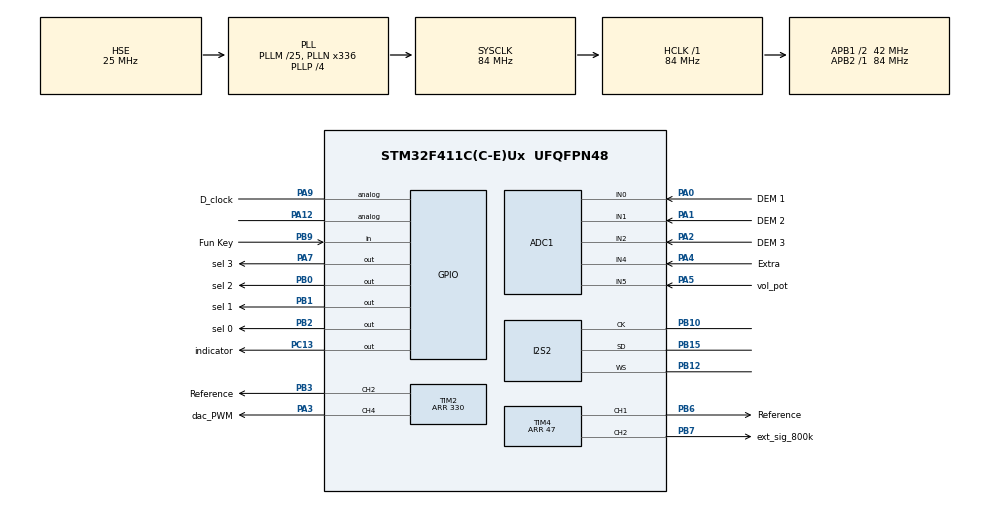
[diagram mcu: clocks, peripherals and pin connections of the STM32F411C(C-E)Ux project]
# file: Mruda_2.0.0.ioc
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ADC1.Channel-0\#ChannelRegularConversion=ADC_CHANNEL_0
ADC1.Channel-1\#ChannelRegularConversion=ADC_CHANNEL_1
ADC1.Channel-2\#ChannelRegularConversion=ADC_CHANNEL_2
ADC1.Channel-3\#ChannelRegularConversion=ADC_CHANNEL_5
ADC1.ContinuousConvMode=ENABLE
ADC1.DMAContinuousRequests=ENABLE
ADC1.InjNumberOfConversion=0
ADC1.NbrOfConversion=4
ADC1.NbrOfConversionFlag=1
ADC1.Rank-0\#ChannelRegularConversion=1
ADC1.Rank-1\#ChannelRegularConversion=2
ADC1.Rank-2\#ChannelRegularConversion=3
ADC1.Rank-3\#ChannelRegularConversion=4
ADC1.SamplingTime-0\#ChannelRegularConversion=ADC_SAMPLETIME_15CYCLES
ADC1.SamplingTime-1\#ChannelRegularConversion=ADC_SAMPLETIME_15CYCLES
ADC1.SamplingTime-2\#ChannelRegularConversion=ADC_SAMPLETIME_15CYCLES
ADC1.SamplingTime-3\#ChannelRegularConversion=ADC_SAMPLETIME_15CYCLES
ADC1.master=1
Dma.ADC1.1.Direction=DMA_PERIPH_TO_MEMORY
Dma.ADC1.1.FIFOMode=DMA_FIFOMODE_DISABLE
Dma.ADC1.1.Instance=DMA2_Stream0
Dma.ADC1.1.MemDataAlignment=DMA_MDATAALIGN_HALFWORD
Dma.ADC1.1.MemInc=DMA_MINC_ENABLE
Dma.ADC1.1.Mode=DMA_CIRCULAR
Dma.ADC1.1.PeriphDataAlignment=DMA_PDATAALIGN_HALFWORD
Dma.ADC1.1.PeriphInc=DMA_PINC_DISABLE
Dma.ADC1.1.Priority=DMA_PRIORITY_LOW
Dma.Request0=SPI2_TX
Dma.Request1=ADC1
Dma.SPI2_TX.0.Direction=DMA_MEMORY_TO_PERIPH
Dma.SPI2_TX.0.FIFOMode=DMA_FIFOMODE_DISABLE
Dma.SPI2_TX.0.Instance=DMA1_Stream4
Dma.SPI2_TX.0.MemDataAlignment=DMA_MDATAALIGN_HALFWORD
Dma.SPI2_TX.0.MemInc=DMA_MINC_ENABLE
Dma.SPI2_TX.0.Mode=DMA_CIRCULAR
Dma.SPI2_TX.0.PeriphDataAlignment=DMA_PDATAALIGN_HALFWORD
Dma.SPI2_TX.0.PeriphInc=DMA_PINC_DISABLE
Dma.SPI2_TX.0.Priority=DMA_PRIORITY_VERY_HIGH
I2S2.AudioFreq=I2S_AUDIOFREQ_32K
I2S2.DataFormat=I2S_DATAFORMAT_16B
I2S2.ErrorAudioFreq=-0.03 %
I2S2.FullDuplexMode=I2S_FULLDUPLEXMODE_DISABLE
I2S2.Instance=SPI$Index
I2S2.RealAudioFreq=31.99 KHz
I2S2.Standard=I2S_STANDARD_PHILIPS
I2S2.VirtualMode=I2S_MODE_MASTER
Mcu.Family=STM32F4
Mcu.Name=STM32F411C(C-E)Ux
Mcu.Package=UFQFPN48
NVIC.DMA1_Stream4_IRQn=true\:0\:0\:false\:false\:true\:false\:true\:true
NVIC.DMA2_Stream0_IRQn=true\:0\:0\:false\:false\:true\:false\:true\:true
NVIC.PriorityGroup=NVIC_PRIORITYGROUP_4
PA0-WKUP.GPIO_Label=DEM 1
PA0-WKUP.Signal=ADCx_IN0
PA1.GPIO_Label=DEM 2
PA1.Signal=ADCx_IN1
PA12.Signal=GPIO_Analog
PA2.GPIO_Label=DEM 3
PA2.Signal=ADCx_IN2
PA3.GPIO_Label=dac_PWM
PA3.Signal=S_TIM2_CH4
PA4.GPIO_Label=Extra
PA4.Signal=ADCx_IN4
PA5.GPIO_Label=vol_pot
PA5.Signal=ADCx_IN5
PA7.GPIO_Label=sel 3
PA7.Signal=GPIO_Output
PA9.GPIO_Label=D_clock
PA9.Signal=GPIO_Analog
PB0.GPIO_Label=sel 2
PB0.Signal=GPIO_Output
PB1.GPIO_Label=sel 1
PB1.Signal=GPIO_Output
PB10.Mode=Half_Duplex_Master
PB10.Signal=I2S2_CK
PB12.Mode=Half_Duplex_Master
PB12.Signal=I2S2_WS
PB15.Mode=Half_Duplex_Master
PB15.Signal=I2S2_SD
PB2.GPIO_Label=sel 0
PB2.Signal=GPIO_Output
PB3.GPIO_Label=Reference
PB3.Signal=S_TIM2_CH2
PB6.GPIO_Label=Reference
PB6.Signal=S_TIM4_CH1
PB7.GPIO_Label=ext_sig_800k
PB7.Signal=S_TIM4_CH2
PB9.GPIO_Label=Fun Key
PB9.GPIO_PuPd=GPIO_PULLUP
PB9.Signal=GPIO_Input
PC13-ANTI_TAMP.GPIO_Label=indicator
PC13-ANTI_TAMP.Signal=GPIO_Output
PH0\ -\ OSC_IN.Mode=HSE-External-Oscillator
PH0\ -\ OSC_IN.Signal=RCC_OSC_IN
PH1\ -\ OSC_OUT.Mode=HSE-External-Oscillator
PH1\ -\ OSC_OUT.Signal=RCC_OSC_OUT
ProjectManager.HeapSize=0x200
ProjectManager.StackSize=0x400
ProjectManager.TargetToolchain=STM32CubeIDE
RCC.48MHZClocksFreq_Value=48000000
RCC.AHBFreq_Value=84000000
RCC.APB1CLKDivider=RCC_HCLK_DIV2
RCC.APB1Freq_Value=42000000
RCC.APB1TimFreq_Value=84000000
RCC.APB2Freq_Value=84000000
RCC.APB2TimFreq_Value=84000000
RCC.CortexFreq_Value=84000000
RCC.HCLKFreq_Value=84000000
RCC.HSE_VALUE=25000000
RCC.HSI_VALUE=16000000
RCC.LSE_VALUE=32768
RCC.PLLI2SM=20
RCC.PLLI2SN=190
RCC.PLLM=25
RCC.PLLN=336
RCC.PLLP=RCC_PLLP_DIV4
RCC.PLLQ=7
RCC.PLLSourceVirtual=RCC_PLLSOURCE_HSE
RCC.SYSCLKFreq_VALUE=84000000
RCC.SYSCLKSource=RCC_SYSCLKSOURCE_PLLCLK
RCC.VCOOutputFreq_Value=336000000
SH.ADCx_IN0.0=ADC1_IN0,IN0
SH.ADCx_IN1.0=ADC1_IN1,IN1
SH.ADCx_IN2.0=ADC1_IN2,IN2
SH.ADCx_IN4.0=ADC1_IN4,IN4
SH.ADCx_IN5.0=ADC1_IN5,IN5
SH.S_TIM2_CH2.0=TIM2_CH2,PWM Generation2 CH2
SH.S_TIM2_CH4.0=TIM2_CH4,PWM Generation4 CH4
SH.S_TIM4_CH1.0=TIM4_CH1,Output Compare1 CH1
SH.S_TIM4_CH2.0=TIM4_CH2,Output Compare2 CH2
TIM2.Channel-PWM\ Generation2\ CH2=TIM_CHANNEL_2
TIM2.Channel-PWM\ Generation4\ CH4=TIM_CHANNEL_4
TIM2.Period=330
TIM2.Pulse-PWM\ Generation4\ CH4=165
TIM3.AutoReloadPreload=TIM_AUTORELOAD_PRELOAD_ENABLE
TIM3.Prescaler=83
TIM4.AutoReloadPreload=TIM_AUTORELOAD_PRELOAD_ENABLE
TIM4.Channel-Output\ Compare1\ CH1=TIM_CHANNEL_1
TIM4.Channel-Output\ Compare2\ CH2=TIM_CHANNEL_2
TIM4.OCMode_1=TIM_OCMODE_TOGGLE
TIM4.OCMode_2=TIM_OCMODE_TOGGLE
TIM4.OCPolarity_1=TIM_OCPOLARITY_LOW
TIM4.Period=47
TIM4.Pulse-Output\ Compare2\ CH2=27
VP_TIM2_VS_ClockSourceINT.Mode=Internal
VP_TIM3_VS_ClockSourceINT.Mode=Internal
board=custom

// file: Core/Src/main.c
/* USER CODE BEGIN Header */
/**
  ******************************************************************************
  * @file           : main.c
  * @brief          : Main program body
  ******************************************************************************
  * @attention
  *
  * Copyright (c) 2026 STMicroelectronics.
  * All rights reserved.
  *
  * This software is licensed under terms that can be found in the LICENSE file
  * in the root directory of this software component.
  * If no LICENSE file comes with this software, it is provided AS-IS.
  *
  ******************************************************************************
  */
/* USER CODE END Header */
#include "main.h"

/* USER CODE BEGIN Includes */

#include "math.h"
#include "tm1637.h"
#include <stdio.h>

/* USER CODE END Includes */

ADC_HandleTypeDef hadc1;
DMA_HandleTypeDef hdma_adc1;

I2S_HandleTypeDef hi2s2;
DMA_HandleTypeDef hdma_spi2_tx;

TIM_HandleTypeDef htim2;
TIM_HandleTypeDef htim3;
TIM_HandleTypeDef htim4;

/* USER CODE BEGIN PV */

#define SAMPLE_RATE 32000  // Sample rate (Hz)
#define TWOPI       360.0f
#define BUFFER_SIZE 512

#define S0_pin GPIO_PIN_2
#define S0_port GPIOB

#define S1_pin GPIO_PIN_1
#define S1_port GPIOB

#define S2_pin GPIO_PIN_0
#define S2_port GPIOB

#define S3_pin GPIO_PIN_7
#define S3_port GPIOA

#define poly_phony 3

#define phase_v (TWOPI/SAMPLE_RATE)
#define SINE_TABLE_LEN 1800 // +1 required

#define ADC_DMA_LEN 16  // must be factor of 4

#define POS_THRESH   1.90f
#define AMP_ON       410.0f
#define AMP_OFF      300.0f
#define SMOOTH_ALPHA 0.9f   // 0 = no update, 1 = no smoothing

int16_t buffer0[BUFFER_SIZE];
int8_t data_ready_flag=0;
float vol_smooth[5], p[5], PHASE_INC[5];

int16_t adc_dma_buffer[ADC_DMA_LEN], adc_val[ADC_DMA_LEN];

int16_t Sine_table_main[SINE_TABLE_LEN+1];
int16_t Sine_table_tanpura[SINE_TABLE_LEN+1];

float touch[48];
float touch_cal[48];
float touch_p[48], touch_p1[48], touch_p2[48]; // current , previous, 2nd previous
float vol_knob;
uint8_t mux_dir, mux_sel;
long t1,t2,dt;

uint32_t last_count=0;
uint32_t now=0;

uint16_t drone_t=0;
float drone_sa=0;
float drone_pa=0;
float drone_vol=0.04;
int8_t drone_vol_level=5;
float drone_vol_raw=0.0;
float drone_sa_key=27;
float drone_pa_key=22;

float drone_sa_freq=0;
float drone_pa_freq=0;

uint8_t peak[3];
float peak_amp[3];
float peak_pos[3];
float peak_pos_old[3];
float peak_pos_track[3];
float peak_amp_track[3];
float touch_position[poly_phony],touch_position_old[poly_phony];
float touch_amp[poly_phony],touch_amp_old[poly_phony];
int8_t touch_flag[poly_phony], touch_flag_old[poly_phony], release_flag[poly_phony];
float p_expo= 1.35;

float vol[5], vol_old[5], vol_smooth[5], vol_smooth_old[5];

float key[poly_phony], key_refined[poly_phony],key_snap[poly_phony],key_snap_pos[poly_phony];
float key_freq[poly_phony], key_diff[poly_phony], key_play[poly_phony],key_play_old[poly_phony], key_play_freq[poly_phony];
float key_trans[poly_phony];
float key_out[poly_phony];
float transpose=0;
float f_tune=0;
float octave=0;

float snap_flag_val[5]={0,0.002,0.005,0.01,0.02};
float snap_flag_multiplier;
float smoothed_play[3] = {0};
float key_error[3];
uint8_t snap_flag=0;
/* USER CODE END PV */

void SystemClock_Config(void);
static void MX_GPIO_Init(void);
static void MX_DMA_Init(void);
static void MX_ADC1_Init(void);
static void MX_I2S2_Init(void);
static void MX_TIM2_Init(void);
static void MX_TIM3_Init(void);
static void MX_TIM4_Init(void);
/* USER CODE BEGIN PFP */

void set_mux(uint8_t ch) {
    if (ch > 15) return;

    HAL_GPIO_WritePin(S0_port, S0_pin, (ch >> 0) & 0x01);
    HAL_GPIO_WritePin(S1_port, S1_pin, (ch >> 1) & 0x01);
    HAL_GPIO_WritePin(S2_port, S2_pin, (ch >> 2) & 0x01);
    HAL_GPIO_WritePin(S3_port, S3_pin, (ch >> 3) & 0x01);
}

float sine(float angle)
{
    // assuming sine_data[] has 720 points for 0–360° (0.5° step)
    // i.e., one table entry per 0.5°
    angle *= 5.0f;  // convert degrees → 0.5° index scale

    int angle_int = (int)angle;
    float frac = angle - angle_int;          // fractional part
    int next_index = angle_int + 1;

    if (next_index >= SINE_TABLE_LEN)
        next_index = 0;

    // linear interpolation
    float y0 = Sine_table_main[angle_int];
    float y1 = Sine_table_main[next_index];
    return y0 + frac * (y1 - y0);
}

float sine_t(float angle)
{
    // assuming sine_data[] has 720 points for 0–360° (0.5° step)
    // i.e., one table entry per 0.5°
    angle *= 5.0f;  // convert degrees → 0.5° index scale

    int angle_int = (int)angle;
    float frac = angle - angle_int;          // fractional part
    int next_index = angle_int + 1;

    if (next_index >= SINE_TABLE_LEN)
        next_index = 0;

    // linear interpolation
    float y0 = Sine_table_tanpura[angle_int];
    float y1 = Sine_table_tanpura[next_index];
    return y0 + frac * (y1 - y0);
}

void Create_sine_table(int16_t *sine_table){
	float step= 6.28318530718/SINE_TABLE_LEN;
	float current_value;
	for(int i=0; i< SINE_TABLE_LEN; i++){
		current_value = 32000.0f*sin(i*step);
		sine_table[i]=(int) current_value;
	}
	sine_table[SINE_TABLE_LEN+1]=sine_table[0];
}

void fill_buffer0(int16_t *buff, uint16_t size){

    for (int i=0; i < size; i+=2) {

    	for(uint8_t i=0;i<3;i++){
    		vol[i]=0.1f*vol[i]+0.9f*vol_old[i];
    		vol_old[i]=vol[i];

    		vol_smooth[i]=0.1f*vol[i]+0.9f*vol_smooth_old[i];
    		vol_smooth_old[i]=vol_smooth[i];
    	}

    	vol[3]=0.004f*vol[3]+0.996f*vol_old[3];
    	vol_old[3]=vol[3];
		vol_smooth[3]=0.15f*vol[3]+0.85f*vol_smooth_old[3];
		vol_smooth_old[3]=vol_smooth[3];

    	vol[4]=0.004f*vol[4]+0.996f*vol_old[4];
    	vol_old[4]=vol[4];
		vol_smooth[4]=0.15f*vol[4]+0.85f*vol_smooth_old[4];
		vol_smooth_old[4]=vol_smooth[4];

	   float t_samp_rev=   vol_smooth[0]*sine(p[0])+
			   	   	   	   vol_smooth[1]*sine(p[1])+
						   vol_smooth[2]*sine(p[2]);

	   float t_samp=	t_samp_rev+
						   vol_smooth[3]*sine_t(p[3])+
						   vol_smooth[4]*sine_t(p[4]);

        // Increment and wrap phase
        p[0] += PHASE_INC[0];
			if (p[0] >= TWOPI)
				p[0] -= TWOPI;

        p[1] += PHASE_INC[1];
            if (p[1] >= TWOPI)
            	p[1] -= TWOPI;

        p[2] += PHASE_INC[2];
            if (p[2] >= TWOPI)
            	p[2] -= TWOPI;

        p[3] += PHASE_INC[3];
            if (p[3] >= TWOPI)
                p[3] -= TWOPI;

        p[4] += PHASE_INC[4];
            if (p[4] >= TWOPI)
                p[4] -= TWOPI;

            buff[i] = (int16_t)t_samp;
            buff[i+1] = buff[i];

    }
}

void HAL_I2S_TxHalfCpltCallback(I2S_HandleTypeDef *hi2s) {

    fill_buffer0(buffer0, BUFFER_SIZE / 2);  // Fill first half
}

void HAL_I2S_TxCpltCallback(I2S_HandleTypeDef *hi2s) {
    fill_buffer0(buffer0 + BUFFER_SIZE/2, BUFFER_SIZE / 2);  // Fill second half
}

void HAL_ADC_ConvCpltCallback(ADC_HandleTypeDef* hadc){

	for(int i=0;i<ADC_DMA_LEN;i++){
	adc_val[i]=(float)adc_dma_buffer[i];
	}
}

float parabolic_fit(uint8_t index)
{
    // Boundary handling: linear interpolation
    if (index == 0)
    {
        float y0 = touch_p[0];
        float y1 = touch_p[1];

        // Weighted linear centroid between 0 and 1
        if ((y0 + y1) > 0.0f)
            return (0.0f * y0 + 1.0f * y1) / (y0 + y1);
        else
            return 0.0f;
    }
    else if (index == 47)
    {
        float y0 = touch_p[46];
        float y1 = touch_p[47];

        if ((y0 + y1) > 0.0f)
            return (46.0f * y0 + 47.0f * y1) / (y0 + y1);
        else
            return 47.0f;
    }

    // Interior points: parabolic interpolation
    float y0 = touch_p[index - 1];
    float y1 = touch_p[index];
    float y2 = touch_p[index + 1];

    touch_amp[0] = y0 + y1 + y2;

    float denominator = 2.0f * (y0 - 2.0f * y1 + y2);

    // Safety check (flat or noisy peak)
    if (denominator == 0.0f)
        return (float)index;

    float delta = (y0 - y2) / denominator;
    return delta + (float)index;
}

void touch_estimate(){

	//identify the peaks over the array
	uint8_t temp_indice=0;
	float threshold = 900;
	for(uint8_t i=0;i<48;i++){
		if(
				( touch_p[i-1] <touch_p[i]  && touch_p[i+1] <touch_p[i]  && (touch_p[i] +touch_p[i+1] +touch_p[i-1]) >threshold )
			// && ( touch_p1[i-1]<touch_p1[i] && touch_p1[i+1]<touch_p1[i] && (touch_p1[i]+touch_p1[i+1]+touch_p1[i-1])>threshold )
			)
		{

			peak[temp_indice]=i;
			peak_amp[temp_indice]=touch_p[i]+touch_p[i-1]+touch_p[i+1];
			peak_pos[temp_indice]=parabolic_fit(i);
			temp_indice++;
			if(temp_indice==3){break;}
		}
	}

	// fill zeros if its there are les than 3 peaks
	for (uint8_t k = temp_indice; k < 3; k++) {
	    peak_pos[k] = 0;
	    peak_amp[k] = 0;
	}

	uint8_t used_new[3] = {0};
	uint8_t used_old[3] = {0};
	for (uint8_t i = 0; i < 3; i++) {
	    for (uint8_t j = 0; j < 3; j++) {
	        float diff = fabsf(peak_pos_old[i] - peak_pos[j]);
	        if (diff < 1.25f && !used_old[i] && !used_new[j]) {
	            peak_pos_track[i] = peak_pos[j];
	            peak_amp_track[i] = peak_amp[j];
	            used_old[i] = 1;
	            used_new[j] = 1;
	            break;
	        }
	    }
	}

	// Second pass: Fill in unmatched old indices with any unused new values
	for (uint8_t i = 0; i < 3; i++) {
	    if (!used_old[i]) {
	        for (uint8_t j = 0; j < 3; j++) {
	            if (!used_new[j]) {
	                peak_pos_track[i] = peak_pos[j];
	                peak_amp_track[i] = peak_amp[j];
	                used_old[i] = 1;
	                used_new[j] = 1;
	                break;
	            }
	        }
	    }
	}

	// Update peak_pos and peak_pos_old for next frame
	for (uint8_t i = 0; i < 3; i++) {
	    peak_pos[i] = peak_pos_track[i];
	    peak_amp[i] = peak_amp_track[i];
	    peak_pos_old[i] = peak_pos[i];

	    touch_flag_old[i]=touch_flag[i];
	    if(peak_pos[i]!=0){touch_flag[i]=1;}
	    else {touch_flag[i]=0;}
	}

	for(int i=0;i<3;i++){

		peak_pos[i]=0.5*peak_pos[i];

		//touch amplitude
		    touch_amp[i]=touch_amp[i]*vol_knob*0.00008;
		    if(touch_amp[i]<0){touch_amp[i]=0;}
		    touch_amp[i]=powf(touch_amp[i],p_expo);

		    //filter
		    touch_amp[i]=0.75*touch_amp[i]+0.25*touch_amp_old[i];
		    vol[i]=touch_amp[i];

		    touch_amp_old[i]=touch_amp[i];

	}

	//HAL_GPIO_WritePin(GPIOC, GPIO_PIN_13, !(touch_flag[0] || touch_flag[1] || touch_flag[2]));

}

void set_freq(){

	for(uint8_t i=0;i<3;i++){
		if(touch_flag[i]==1 && snap_flag>0){
			key[i]=peak_pos[i]+21-0.5; //sensing plate not on senter so 0.5
			key_trans[i]=key[i]+f_tune+transpose+octave;

			if(touch_flag_old[i]==0){
				key_snap[i]=round(key[i]); // only for functions
				smoothed_play[i]=0;
				key_error[i]=0;
			}

			//auto correct
			//if(smoothed_play[i]>0.5){smoothed_play[i]=0.5;}
			key_play[i]=key_trans[i]+smoothed_play[i];
			key_error[i]=key_play[i]-round(key_trans[i]);
			smoothed_play[i]-=snap_flag_multiplier*key_error[i];
			//if(key_error[i]<0.01){key_error[i]=0;}

			key_play[i]=0.9*key_play[i]+0.1*key_play_old[i];
			key_play_old[i]=key_play[i];

			key_play[i] = 440.0f * powf(1.0594630f, (key_play[i] - 48));
			PHASE_INC[i] =phase_v * key_play[i];
		}

		if(touch_flag[i]==1 && snap_flag==0){
					key_snap[i]=round(key[i]); // for function detect
					key[i]=peak_pos[i]+21-0.5; //sensing plate not on senter so 0.5

					key_play[i]=key[i]+f_tune+transpose+octave;
					//key_play[i]=key_play[i]*(1+0.001*rand_float());

					key_out[i]=key_play[i];
					key_play[i]=0.9*key_play[i]+0.1*key_play_old[i];

					key_play_old[i]=key_play[i];

					key_play[i] = 440.0f * powf(1.0594630f, (key_play[i] - 48));
					PHASE_INC[i] =phase_v * key_play[i];
				}
	}
}

/* USER CODE END PFP */

int main(void)
{

  /* USER CODE BEGIN 1 */

	Create_sine_table(Sine_table_main);
	Create_sine_table(Sine_table_tanpura);

  /* USER CODE END 1 */

  /* MCU Configuration--------------------------------------------------------*/

  /* Reset of all peripherals, Initializes the Flash interface and the Systick. */
  HAL_Init();

  /* Configure the system clock */
  SystemClock_Config();

  /* Initialize all configured peripherals */
  MX_GPIO_Init();
  MX_DMA_Init();
  MX_ADC1_Init();
  MX_I2S2_Init();
  MX_TIM2_Init();
  MX_TIM3_Init();
  MX_TIM4_Init();
  /* USER CODE BEGIN 2 */

  TM1637_Init();
  TM1637_DisplayString("CAL-");
  HAL_Delay(50);
  HAL_TIM_PWM_Start(&htim4, TIM_CHANNEL_2);
  HAL_TIM_PWM_Start(&htim4, TIM_CHANNEL_1);
  __HAL_TIM_SET_COMPARE(&htim4, TIM_CHANNEL_1, 0);

  HAL_TIM_Base_Start(&htim3);
  HAL_TIM_PWM_Start(&htim2, TIM_CHANNEL_4);

  __HAL_TIM_SET_COMPARE(&htim2, TIM_CHANNEL_4, 195);
  __HAL_TIM_SET_COMPARE(&htim4, TIM_CHANNEL_2, 27);
//PHASE_INC[0]=2.5;
vol_smooth[0]=0;

HAL_ADC_Start_DMA(&hadc1, (uint32_t*)adc_dma_buffer, 16);

HAL_Delay(50);
for(int j=0;j<10;j++)
{
	 for(int i = 0; i < 16; i++){
		 set_mux(i);HAL_Delay(2);
		 touch_cal[i]	 =touch_cal[i]+ adc_val[2];
		 touch_cal[i+16] =touch_cal[i+16]+ adc_val[1];
		 touch_cal[i+32] =touch_cal[i+32]+ adc_val[0];
	 }
}

for(int i = 0; i < 48; i++){
	 touch_cal[i]= round(touch_cal[i]/10);
}
TM1637_SetColon(0);
TM1637_DisplayString("PLAY");
drone_pa_freq=440.0f * powf(1.0594630f, (drone_sa_key - 48));
drone_sa_freq=440.0f * powf(1.0594630f, (drone_pa_key - 48));

PHASE_INC[3] =phase_v * drone_sa_freq;
PHASE_INC[4] =phase_v * drone_pa_freq;

HAL_Delay(20);
HAL_I2S_Transmit_DMA(&hi2s2, (uint16_t*)buffer0, BUFFER_SIZE);
HAL_Delay(20);

  /* USER CODE END 2 */

  /* Infinite loop */
  /* USER CODE BEGIN WHILE */
  last_count = __HAL_TIM_GET_COUNTER(&htim3);
  while (1)
  {
    /* USER CODE END WHILE */

    /* USER CODE BEGIN 3 */

	    now = __HAL_TIM_GET_COUNTER(&htim3);

	    if ((now - last_count) >= 250)
	    {

	        last_count = now;

					touch_p2 [mux_sel] = touch_p1[mux_sel];
					touch_p2 [mux_sel+16] = touch_p1[mux_sel+16];
					touch_p2 [mux_sel+32] = touch_p1[mux_sel+32];

	        		touch_p1 [mux_sel] = touch_p[mux_sel];
	        		touch_p1 [mux_sel+16] = touch_p[mux_sel+16];
	        		touch_p1 [mux_sel+32] = touch_p[mux_sel+32];

	        		//meaure
					touch[mux_sel] =  0.25f*(adc_val[2]+adc_val[6]+adc_val[10]+adc_val[14]);
					touch[mux_sel+16]=0.25f*(adc_val[1]+adc_val[5]+adc_val[9]+adc_val[13]);
					touch[mux_sel+32]=0.25f*(adc_val[0]+adc_val[4]+adc_val[8]+adc_val[12]);

					touch_p[mux_sel]   = touch[mux_sel] -touch_cal[mux_sel];
					touch_p[mux_sel+16]= touch[mux_sel+16] -touch_cal[mux_sel+16];
					touch_p[mux_sel+32]= touch[mux_sel+32] -touch_cal[mux_sel+32];

	        	  if(mux_sel==15){
	        	        mux_dir = -1;
	        	  }
	        	  else if (mux_sel == 0)
	        	    {
	        	        mux_dir = +1;   // forward again
	        	    }

	        	  mux_sel += mux_dir;
	        	  set_mux(mux_sel);

	        	  if(mux_sel==15 || mux_sel==0){
	        		  touch_estimate();
	        		  vol_knob=(float)adc_val[3];
	        		  vol_knob=vol_knob/4095;
	        		  set_freq();
	        		  HAL_GPIO_TogglePin(GPIOC, GPIO_PIN_13);
	        	  }
	    }

  }
  /* USER CODE END 3 */
}

void SystemClock_Config(void)
{
  RCC_OscInitTypeDef RCC_OscInitStruct = {0};
  RCC_ClkInitTypeDef RCC_ClkInitStruct = {0};

  /** Configure the main internal regulator output voltage
  */
  __HAL_RCC_PWR_CLK_ENABLE();
  __HAL_PWR_VOLTAGESCALING_CONFIG(PWR_REGULATOR_VOLTAGE_SCALE1);

  /** Initializes the RCC Oscillators according to the specified parameters
  * in the RCC_OscInitTypeDef structure.
  */
  RCC_OscInitStruct.OscillatorType = RCC_OSCILLATORTYPE_HSE;
  RCC_OscInitStruct.HSEState = RCC_HSE_ON;
  RCC_OscInitStruct.PLL.PLLState = RCC_PLL_ON;
  RCC_OscInitStruct.PLL.PLLSource = RCC_PLLSOURCE_HSE;
  RCC_OscInitStruct.PLL.PLLM = 25;
  RCC_OscInitStruct.PLL.PLLN = 336;
  RCC_OscInitStruct.PLL.PLLP = RCC_PLLP_DIV4;
  RCC_OscInitStruct.PLL.PLLQ = 7;
  if (HAL_RCC_OscConfig(&RCC_OscInitStruct) != HAL_OK)
  {
    Error_Handler();
  }

  /** Initializes the CPU, AHB and APB buses clocks
  */
  RCC_ClkInitStruct.ClockType = RCC_CLOCKTYPE_HCLK|RCC_CLOCKTYPE_SYSCLK
                              |RCC_CLOCKTYPE_PCLK1|RCC_CLOCKTYPE_PCLK2;
  RCC_ClkInitStruct.SYSCLKSource = RCC_SYSCLKSOURCE_PLLCLK;
  RCC_ClkInitStruct.AHBCLKDivider = RCC_SYSCLK_DIV1;
  RCC_ClkInitStruct.APB1CLKDivider = RCC_HCLK_DIV2;
  RCC_ClkInitStruct.APB2CLKDivider = RCC_HCLK_DIV1;

  if (HAL_RCC_ClockConfig(&RCC_ClkInitStruct, FLASH_LATENCY_2) != HAL_OK)
  {
    Error_Handler();
  }
}

static void MX_ADC1_Init(void)
{

  ADC_ChannelConfTypeDef sConfig = {0};

  /** Configure the global features of the ADC (Clock, Resolution, Data Alignment and number of conversion)
  */
  hadc1.Instance = ADC1;
  hadc1.Init.ClockPrescaler = ADC_CLOCK_SYNC_PCLK_DIV4;
  hadc1.Init.Resolution = ADC_RESOLUTION_12B;
  hadc1.Init.ScanConvMode = ENABLE;
  hadc1.Init.ContinuousConvMode = ENABLE;
  hadc1.Init.DiscontinuousConvMode = DISABLE;
  hadc1.Init.ExternalTrigConvEdge = ADC_EXTERNALTRIGCONVEDGE_NONE;
  hadc1.Init.ExternalTrigConv = ADC_SOFTWARE_START;
  hadc1.Init.DataAlign = ADC_DATAALIGN_RIGHT;
  hadc1.Init.NbrOfConversion = 4;
  hadc1.Init.DMAContinuousRequests = ENABLE;
  hadc1.Init.EOCSelection = ADC_EOC_SINGLE_CONV;
  if (HAL_ADC_Init(&hadc1) != HAL_OK)
  {
    Error_Handler();
  }

  /** Configure for the selected ADC regular channel its corresponding rank in the sequencer and its sample time.
  */
  sConfig.Channel = ADC_CHANNEL_0;
  sConfig.Rank = 1;
  sConfig.SamplingTime = ADC_SAMPLETIME_15CYCLES;
  if (HAL_ADC_ConfigChannel(&hadc1, &sConfig) != HAL_OK)
  {
    Error_Handler();
  }

  /** Configure for the selected ADC regular channel its corresponding rank in the sequencer and its sample time.
  */
  sConfig.Channel = ADC_CHANNEL_1;
  sConfig.Rank = 2;
  if (HAL_ADC_ConfigChannel(&hadc1, &sConfig) != HAL_OK)
  {
    Error_Handler();
  }

  /** Configure for the selected ADC regular channel its corresponding rank in the sequencer and its sample time.
  */
  sConfig.Channel = ADC_CHANNEL_2;
  sConfig.Rank = 3;
  if (HAL_ADC_ConfigChannel(&hadc1, &sConfig) != HAL_OK)
  {
    Error_Handler();
  }

  /** Configure for the selected ADC regular channel its corresponding rank in the sequencer and its sample time.
  */
  sConfig.Channel = ADC_CHANNEL_5;
  sConfig.Rank = 4;
  if (HAL_ADC_ConfigChannel(&hadc1, &sConfig) != HAL_OK)
  {
    Error_Handler();
  }

}

static void MX_I2S2_Init(void)
{

  hi2s2.Instance = SPI2;
  hi2s2.Init.Mode = I2S_MODE_MASTER_TX;
  hi2s2.Init.Standard = I2S_STANDARD_PHILIPS;
  hi2s2.Init.DataFormat = I2S_DATAFORMAT_16B;
  hi2s2.Init.MCLKOutput = I2S_MCLKOUTPUT_DISABLE;
  hi2s2.Init.AudioFreq = I2S_AUDIOFREQ_32K;
  hi2s2.Init.CPOL = I2S_CPOL_LOW;
  hi2s2.Init.ClockSource = I2S_CLOCK_PLL;
  hi2s2.Init.FullDuplexMode = I2S_FULLDUPLEXMODE_DISABLE;
  if (HAL_I2S_Init(&hi2s2) != HAL_OK)
  {
    Error_Handler();
  }

}

static void MX_TIM2_Init(void)
{

  TIM_ClockConfigTypeDef sClockSourceConfig = {0};
  TIM_MasterConfigTypeDef sMasterConfig = {0};
  TIM_OC_InitTypeDef sConfigOC = {0};

  htim2.Instance = TIM2;
  htim2.Init.Prescaler = 0;
  htim2.Init.CounterMode = TIM_COUNTERMODE_UP;
  htim2.Init.Period = 330;
  htim2.Init.ClockDivision = TIM_CLOCKDIVISION_DIV1;
  htim2.Init.AutoReloadPreload = TIM_AUTORELOAD_PRELOAD_DISABLE;
  if (HAL_TIM_Base_Init(&htim2) != HAL_OK)
  {
    Error_Handler();
  }
  sClockSourceConfig.ClockSource = TIM_CLOCKSOURCE_INTERNAL;
  if (HAL_TIM_ConfigClockSource(&htim2, &sClockSourceConfig) != HAL_OK)
  {
    Error_Handler();
  }
  if (HAL_TIM_PWM_Init(&htim2) != HAL_OK)
  {
    Error_Handler();
  }
  sMasterConfig.MasterOutputTrigger = TIM_TRGO_RESET;
  sMasterConfig.MasterSlaveMode = TIM_MASTERSLAVEMODE_DISABLE;
  if (HAL_TIMEx_MasterConfigSynchronization(&htim2, &sMasterConfig) != HAL_OK)
  {
    Error_Handler();
  }
  sConfigOC.OCMode = TIM_OCMODE_PWM1;
  sConfigOC.Pulse = 0;
  sConfigOC.OCPolarity = TIM_OCPOLARITY_HIGH;
  sConfigOC.OCFastMode = TIM_OCFAST_DISABLE;
  if (HAL_TIM_PWM_ConfigChannel(&htim2, &sConfigOC, TIM_CHANNEL_2) != HAL_OK)
  {
    Error_Handler();
  }
  sConfigOC.Pulse = 165;
  if (HAL_TIM_PWM_ConfigChannel(&htim2, &sConfigOC, TIM_CHANNEL_4) != HAL_OK)
  {
    Error_Handler();
  }
  HAL_TIM_MspPostInit(&htim2);

}

static void MX_TIM3_Init(void)
{

  TIM_ClockConfigTypeDef sClockSourceConfig = {0};
  TIM_MasterConfigTypeDef sMasterConfig = {0};

  htim3.Instance = TIM3;
  htim3.Init.Prescaler = 83;
  htim3.Init.CounterMode = TIM_COUNTERMODE_UP;
  htim3.Init.Period = 65535;
  htim3.Init.ClockDivision = TIM_CLOCKDIVISION_DIV1;
  htim3.Init.AutoReloadPreload = TIM_AUTORELOAD_PRELOAD_ENABLE;
  if (HAL_TIM_Base_Init(&htim3) != HAL_OK)
  {
    Error_Handler();
  }
  sClockSourceConfig.ClockSource = TIM_CLOCKSOURCE_INTERNAL;
  if (HAL_TIM_ConfigClockSource(&htim3, &sClockSourceConfig) != HAL_OK)
  {
    Error_Handler();
  }
  sMasterConfig.MasterOutputTrigger = TIM_TRGO_RESET;
  sMasterConfig.MasterSlaveMode = TIM_MASTERSLAVEMODE_DISABLE;
  if (HAL_TIMEx_MasterConfigSynchronization(&htim3, &sMasterConfig) != HAL_OK)
  {
    Error_Handler();
  }

}

static void MX_TIM4_Init(void)
{

  TIM_MasterConfigTypeDef sMasterConfig = {0};
  TIM_OC_InitTypeDef sConfigOC = {0};

  htim4.Instance = TIM4;
  htim4.Init.Prescaler = 0;
  htim4.Init.CounterMode = TIM_COUNTERMODE_UP;
  htim4.Init.Period = 47;
  htim4.Init.ClockDivision = TIM_CLOCKDIVISION_DIV1;
  htim4.Init.AutoReloadPreload = TIM_AUTORELOAD_PRELOAD_ENABLE;
  if (HAL_TIM_OC_Init(&htim4) != HAL_OK)
  {
    Error_Handler();
  }
  sMasterConfig.MasterOutputTrigger = TIM_TRGO_RESET;
  sMasterConfig.MasterSlaveMode = TIM_MASTERSLAVEMODE_DISABLE;
  if (HAL_TIMEx_MasterConfigSynchronization(&htim4, &sMasterConfig) != HAL_OK)
  {
    Error_Handler();
  }
  sConfigOC.OCMode = TIM_OCMODE_TOGGLE;
  sConfigOC.Pulse = 0;
  sConfigOC.OCPolarity = TIM_OCPOLARITY_LOW;
  sConfigOC.OCFastMode = TIM_OCFAST_DISABLE;
  if (HAL_TIM_OC_ConfigChannel(&htim4, &sConfigOC, TIM_CHANNEL_1) != HAL_OK)
  {
    Error_Handler();
  }
  sConfigOC.Pulse = 27;
  sConfigOC.OCPolarity = TIM_OCPOLARITY_HIGH;
  if (HAL_TIM_OC_ConfigChannel(&htim4, &sConfigOC, TIM_CHANNEL_2) != HAL_OK)
  {
    Error_Handler();
  }
  HAL_TIM_MspPostInit(&htim4);

}

static void MX_DMA_Init(void)
{

  /* DMA controller clock enable */
  __HAL_RCC_DMA1_CLK_ENABLE();
  __HAL_RCC_DMA2_CLK_ENABLE();

  /* DMA interrupt init */
  /* DMA1_Stream4_IRQn interrupt configuration */
  HAL_NVIC_SetPriority(DMA1_Stream4_IRQn, 0, 0);
  HAL_NVIC_EnableIRQ(DMA1_Stream4_IRQn);
  /* DMA2_Stream0_IRQn interrupt configuration */
  HAL_NVIC_SetPriority(DMA2_Stream0_IRQn, 0, 0);
  HAL_NVIC_EnableIRQ(DMA2_Stream0_IRQn);

}

static void MX_GPIO_Init(void)
{
  GPIO_InitTypeDef GPIO_InitStruct = {0};

  /* GPIO Ports Clock Enable */
  __HAL_RCC_GPIOC_CLK_ENABLE();
  __HAL_RCC_GPIOH_CLK_ENABLE();
  __HAL_RCC_GPIOA_CLK_ENABLE();
  __HAL_RCC_GPIOB_CLK_ENABLE();

  /*Configure GPIO pin Output Level */
  HAL_GPIO_WritePin(indicator_GPIO_Port, indicator_Pin, GPIO_PIN_RESET);

  /*Configure GPIO pin Output Level */
  HAL_GPIO_WritePin(sel_3_GPIO_Port, sel_3_Pin, GPIO_PIN_RESET);

  /*Configure GPIO pin Output Level */
  HAL_GPIO_WritePin(GPIOB, sel_2_Pin|sel_1_Pin|sel_0_Pin, GPIO_PIN_RESET);

  /*Configure GPIO pin : indicator_Pin */
  GPIO_InitStruct.Pin = indicator_Pin;
  GPIO_InitStruct.Mode = GPIO_MODE_OUTPUT_PP;
  GPIO_InitStruct.Pull = GPIO_NOPULL;
  GPIO_InitStruct.Speed = GPIO_SPEED_FREQ_LOW;
  HAL_GPIO_Init(indicator_GPIO_Port, &GPIO_InitStruct);

  /*Configure GPIO pin : sel_3_Pin */
  GPIO_InitStruct.Pin = sel_3_Pin;
  GPIO_InitStruct.Mode = GPIO_MODE_OUTPUT_PP;
  GPIO_InitStruct.Pull = GPIO_NOPULL;
  GPIO_InitStruct.Speed = GPIO_SPEED_FREQ_LOW;
  HAL_GPIO_Init(sel_3_GPIO_Port, &GPIO_InitStruct);

  /*Configure GPIO pins : sel_2_Pin sel_1_Pin sel_0_Pin */
  GPIO_InitStruct.Pin = sel_2_Pin|sel_1_Pin|sel_0_Pin;
  GPIO_InitStruct.Mode = GPIO_MODE_OUTPUT_PP;
  GPIO_InitStruct.Pull = GPIO_NOPULL;
  GPIO_InitStruct.Speed = GPIO_SPEED_FREQ_LOW;
  HAL_GPIO_Init(GPIOB, &GPIO_InitStruct);

  /*Configure GPIO pins : D_clock_Pin PA12 */
  GPIO_InitStruct.Pin = D_clock_Pin|GPIO_PIN_12;
  GPIO_InitStruct.Mode = GPIO_MODE_ANALOG;
  GPIO_InitStruct.Pull = GPIO_NOPULL;
  HAL_GPIO_Init(GPIOA, &GPIO_InitStruct);

  /*Configure GPIO pin : Fun_Key_Pin */
  GPIO_InitStruct.Pin = Fun_Key_Pin;
  GPIO_InitStruct.Mode = GPIO_MODE_INPUT;
  GPIO_InitStruct.Pull = GPIO_PULLUP;
  HAL_GPIO_Init(Fun_Key_GPIO_Port, &GPIO_InitStruct);

}

void Error_Handler(void)
{
  __disable_irq();
  while (1)
  {
  }
}
